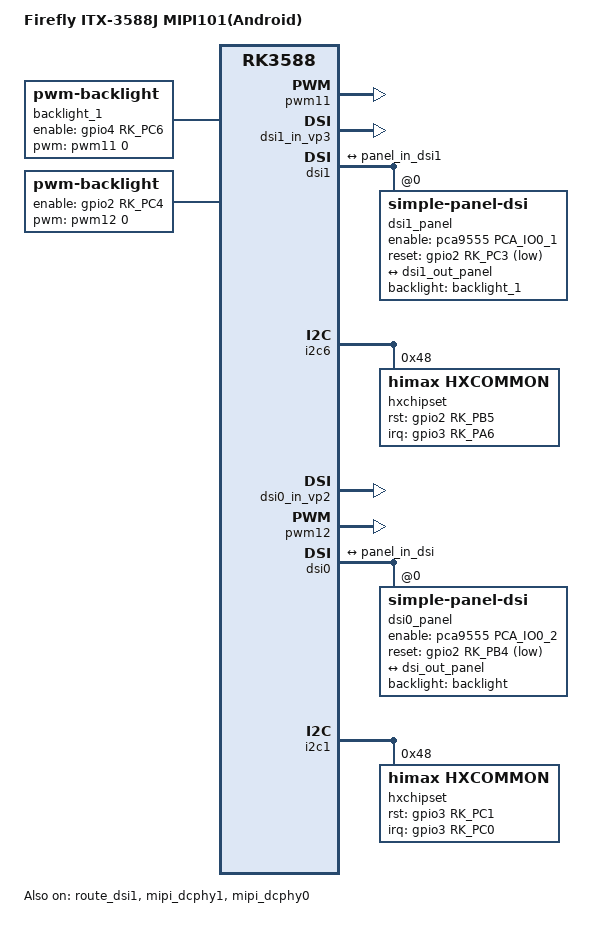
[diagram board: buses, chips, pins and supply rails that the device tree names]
// SPDX-License-Identifier: (GPL-2.0+ OR MIT)
/*
 * Copyright (c) 2021 Rockchip Electronics Co., Ltd.
 *
 */
/dts-v1/;
#include "rk3588-firefly-itx-3588j.dtsi"
#include "rk3588-firefly-itx-cam-8ms1m.dtsi"
#include "rk3588-firefly-itx-cam-2ms2m.dtsi"

/ {
	model = "Firefly ITX-3588J MIPI101(Android)";
	compatible = "rockchip,rk3588-firefly-itx-3588j-mipi101-M101014-BE45-A1", "rockchip,rk3588";

/*
   vcc1v8_lcd1_power: vcc1v8-lcd1-power-regulator {
		compatible = "regulator-fixed";
		enable-active-high;
		gpio = <&pca9555 PCA_IO0_1 GPIO_ACTIVE_HIGH>;
		regulator-always-on;
	};
*/
	backlight_1: backlight-1 {
		status = "okay";
		compatible = "pwm-backlight";
		enable-gpios = <&gpio4 RK_PC6 GPIO_ACTIVE_HIGH>;
		pwms = <&pwm11 0 50000 0>;
		brightness-levels = <
			 60  60  60  61  61  61  62  62
			 62  63  63  63  64  64  64  65
			 65  65  66  66  66  67  67  67
			 68  68  68  69  69  69  70  70
			 70  71  71  71  72  72  72  73
			 73  73  74  74  74  75  75  75
			 76  76  76  77  77  77  78  78
			 78  79  79  79  80  80  80  81
			 81  81  82  82  82  83  83  83
			 84  84  84  85  85  85  86  86
			 86  87  87  87  88  88  88  89
			 89  89  90  91  92  93  94  95
			 96  97  98  99 100 101 102 103
			104 105 106 107 108 109 110 111
			112 113 114 115 116 117 118 119
			120 121 122 123 124 125 126 127
			128 129 130 131 132 133 134 135
			136 137 138 139 140 141 142 143
			144 145 146 147 148 149 150 151
			152 153 154 155 156 157 158 159
			160 161 162 163 164 165 166 167
			168 169 170 171 172 173 174 175
			176 177 178 179 180 181 182 183
			184 185 186 187 188 189 190 191
			192 193 194 195 196 197 198 199
			200 201 202 203 204 205 206 207
			208 209 210 211 212 213 214 215
			216 217 218 219 220 221 222 223
			224 225 226 227 228 229 230 231
			232 233 234 235 236 237 238 239
			240 241 242 243 244 245 246 247
			248 249 250 251 252 253 254 255
		>;
		default-brightness-level = <50>;
	};	

/*
	vcc1v8_lcd0_power: vcc1v8-lcd0-power-regulator {
		compatible = "regulator-fixed";
		enable-active-high;
		gpio = <&pca9555 PCA_IO0_2 GPIO_ACTIVE_HIGH>;
		regulator-always-on;
	};
*/
	backlight: backlight {
		status = "okay";
		compatible = "pwm-backlight";
		enable-gpios = <&gpio2 RK_PC4 GPIO_ACTIVE_HIGH>;
		pwms = <&pwm12 0 50000 0>;
		brightness-levels = <
			 60  60  60  61  61  61  62  62
			 62  63  63  63  64  64  64  65
			 65  65  66  66  66  67  67  67
			 68  68  68  69  69  69  70  70
			 70  71  71  71  72  72  72  73
			 73  73  74  74  74  75  75  75
			 76  76  76  77  77  77  78  78
			 78  79  79  79  80  80  80  81
			 81  81  82  82  82  83  83  83
			 84  84  84  85  85  85  86  86
			 86  87  87  87  88  88  88  89
			 89  89  90  91  92  93  94  95
			 96  97  98  99 100 101 102 103
			104 105 106 107 108 109 110 111
			112 113 114 115 116 117 118 119
			120 121 122 123 124 125 126 127
			128 129 130 131 132 133 134 135
			136 137 138 139 140 141 142 143
			144 145 146 147 148 149 150 151
			152 153 154 155 156 157 158 159
			160 161 162 163 164 165 166 167
			168 169 170 171 172 173 174 175
			176 177 178 179 180 181 182 183
			184 185 186 187 188 189 190 191
			192 193 194 195 196 197 198 199
			200 201 202 203 204 205 206 207
			208 209 210 211 212 213 214 215
			216 217 218 219 220 221 222 223
			224 225 226 227 228 229 230 231
			232 233 234 235 236 237 238 239
			240 241 242 243 244 245 246 247
			248 249 250 251 252 253 254 255
		>;
		default-brightness-level = <50>;
	};	
 
};

&pwm11 {
	pinctrl-0 = <&pwm11m3_pins>;
	status = "okay";
};

&route_dsi1 {
	status = "okay";
	connect = <&vp3_out_dsi1>;
};

&dsi1_in_vp3 {
	status = "okay";
};

&mipi_dcphy1 {
	status = "okay";
};

&dsi1 {
	status = "okay";
	//rockchip,lane-rate = <1000>;
	dsi1_panel: panel@0 {
		status = "okay";
		compatible = "simple-panel-dsi";
		reg = <0>;
		backlight = <&backlight_1>;
		
		enable-gpios = <&pca9555 PCA_IO0_1 GPIO_ACTIVE_HIGH>;
		reset-gpios = <&gpio2 RK_PC3 GPIO_ACTIVE_LOW>;
		enable-delay-ms = <50>;
		prepare-delay-ms = <200>;
		reset-delay-ms = <50>;
		init-delay-ms = <55>;
		unprepare-delay-ms = <50>;
		disable-delay-ms = <20>;
		mipi-data-delay-ms = <200>;
		size,width = <120>;
		size,height = <170>;
		dsi,flags = <(MIPI_DSI_MODE_VIDEO | MIPI_DSI_MODE_VIDEO_BURST | MIPI_DSI_MODE_LPM | MIPI_DSI_MODE_EOT_PACKET)>;
		dsi,format = <MIPI_DSI_FMT_RGB888>;
		dsi,lanes  = <4>;

		panel-init-sequence = [
			//39 00 04 B9 83 10 2E
			// 15 00 02 CF FF
			05 78 01 11
			05 32 01 29
			//15 00 02 35 00
		];

		panel-exit-sequence = [
			05 00 01 28
			05 00 01 10
		];

		dis1_timings0: display-timings {
			native-mode = <&dsi1_timing0>;
			dsi1_timing0: timing0 {
				clock-frequency = <72600000>;//<80000000>;
				hactive = <800>;//<768>;
				vactive = <1280>;
				hsync-len = <14>;   //20, 50,10
				hback-porch = <26>; //50, 56,10
				hfront-porch = <32>;//50, 30,180
				vsync-len = <8>;//4
				vback-porch = <20>;//4
				vfront-porch = <80>;//8
				hsync-active = <0>;
				vsync-active = <0>;
				de-active = <0>;
				pixelclk-active = <0>;
			};
		};

		ports {
			#address-cells = <1>;
			#size-cells = <0>;

			port@0 {
				reg = <0>;
				panel_in_dsi1: endpoint {
					remote-endpoint = <&dsi1_out_panel>;
				};
			};
		};
	};

	ports {
		#address-cells = <1>;
		#size-cells = <0>;

		port@1 {
			reg = <1>;
			dsi1_out_panel: endpoint {
			remote-endpoint = <&panel_in_dsi1>;
			};
		};
	};
};

&i2c6{
	status = "okay";
	pinctrl-names = "default";
	pinctrl-0 = <&i2c6m0_xfer>;

	hxchipset@48{
		status = "okay";
		compatible = "himax,hxcommon";
		reg = <0x48>;

		himax,rst-gpio =  <&gpio2 RK_PB5 GPIO_ACTIVE_HIGH>;
		himax,irq-gpio = <&gpio3 RK_PA6 IRQ_TYPE_LEVEL_HIGH>;
		pinctrl-names = "default";
		pinctrl-0 = <&touch_int1>;

		//himax,3v3-gpio = <&gpio0 RK_PB4 GPIO_ACTIVE_HIGH>;
		//himax,pon-gpio = <&gpio0 RK_PB4 GPIO_ACTIVE_HIGH>;

		//pinctrl-names = "default";
		//pinctrl-0 = <&lcd_tp_int>;

		himax,panel-coords = <0 800 0 1280>;      //触摸范围
		himax,display-coords = <0 800 0 1280>;    //分辨率
		report_type = <1>;
	};
};

&dsi0_in_vp2 {
	status = "okay";
};

&pwm12 {
	pinctrl-0 = <&pwm12m1_pins>;
	status = "okay";
};

&route_dsi0 {
	status = "disabled";
	connect = <&vp2_out_dsi0>;
};

&mipi_dcphy0 {
	status = "okay";
};

&dsi0 {
	status = "okay";
	//rockchip,lane-rate = <1000>;
	dsi0_panel: panel@0 {
		status = "okay";
		compatible = "simple-panel-dsi";
		reg = <0>;
		backlight = <&backlight>;
		
		enable-gpios = <&pca9555 PCA_IO0_2 GPIO_ACTIVE_HIGH>;
		reset-gpios = <&gpio2 RK_PB4 GPIO_ACTIVE_LOW>;

		enable-delay-ms = <50>;
		prepare-delay-ms = <200>;
		reset-delay-ms = <50>;
		init-delay-ms = <55>;
		unprepare-delay-ms = <50>;
		disable-delay-ms = <20>;
		mipi-data-delay-ms = <200>;
		size,width = <120>;
		size,height = <170>;
		dsi,flags = <(MIPI_DSI_MODE_VIDEO | MIPI_DSI_MODE_VIDEO_BURST | MIPI_DSI_MODE_LPM | MIPI_DSI_MODE_EOT_PACKET)>;
		dsi,format = <MIPI_DSI_FMT_RGB888>;
		dsi,lanes  = <4>;

		panel-init-sequence = [
			//39 00 04 B9 83 10 2E
			// 15 00 02 CF FF
			05 78 01 11
			05 32 01 29
			//15 00 02 35 00
		];

		panel-exit-sequence = [
			05 00 01 28
			05 00 01 10
		];

		disp_timings0: display-timings {
			native-mode = <&dsi0_timing0>;
			dsi0_timing0: timing0 {
				clock-frequency = <72600000>;//<80000000>;
				hactive = <800>;//<768>;
				vactive = <1280>;
				hsync-len = <14>;   //20, 50,10
				hback-porch = <26>; //50, 56,10
				hfront-porch = <32>;//50, 30,180
				vsync-len = <8>;//4
				vback-porch = <20>;//4
				vfront-porch = <80>;//8
				hsync-active = <0>;
				vsync-active = <0>;
				de-active = <0>;
				pixelclk-active = <0>;
			};
		};

		ports {
			#address-cells = <1>;
			#size-cells = <0>;

			port@0 {
				reg = <0>;
				panel_in_dsi: endpoint {
					remote-endpoint = <&dsi_out_panel>;
				};
			};
		};
	};

	ports {
		#address-cells = <1>;
		#size-cells = <0>;

		port@1 {
			reg = <1>;
			dsi_out_panel: endpoint {
			remote-endpoint = <&panel_in_dsi>;
			};
		};
	};
};

&i2c1{
	status = "okay";
	pinctrl-names = "default";
	pinctrl-0 = <&i2c1m2_xfer>;

	hxchipset@48{
		status = "okay";
		compatible = "himax,hxcommon";
		reg = <0x48>;

		himax,rst-gpio =  <&gpio3 RK_PC1 GPIO_ACTIVE_HIGH>;
		himax,irq-gpio = <&gpio3 RK_PC0 IRQ_TYPE_LEVEL_HIGH>;
		//himax,3v3-gpio = <&gpio0 RK_PB4 GPIO_ACTIVE_HIGH>;
		//himax,pon-gpio = <&gpio0 RK_PB4 GPIO_ACTIVE_HIGH>;

		pinctrl-names = "default";
		pinctrl-0 = <&touch_int0>;

		//pinctrl-names = "default";
		//pinctrl-0 = <&lcd_tp_int>;

		himax,panel-coords = <0 800 0 1280>;      //触摸范围
		himax,display-coords = <0 800 0 1280>;    //分辨率
		report_type = <1>;
	};
};

&dp0 {
	status = "disabled";
};

&dp0_in_vp2 {
	status = "disabled";
};

&dp1 {
	status = "disabled";
};

&dp1_in_vp2 {
	status = "disabled";
};

&pinctrl {
	touch {
		touch_int1: touch-int1 {
			rockchip,pins = <3 RK_PA6 RK_FUNC_GPIO &pcfg_pull_up>;
		};
		touch_int0: touch-int0 {
			rockchip,pins = <3 RK_PC0 RK_FUNC_GPIO &pcfg_pull_up>;
		};
	};
};

